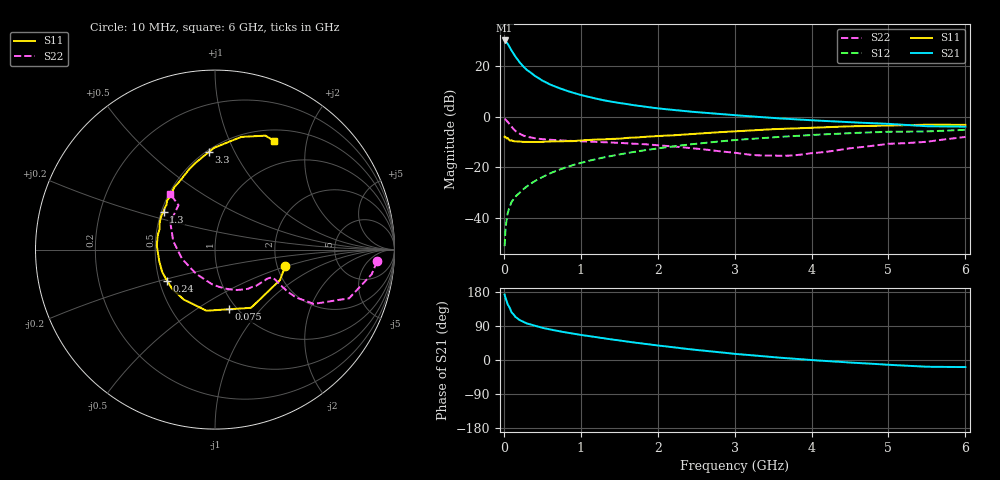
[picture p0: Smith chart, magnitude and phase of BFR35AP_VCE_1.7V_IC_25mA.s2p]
! Infineon Technologies  Discrete & RF Semiconductors
! BFR35AP
! VCE =  1.7 V,  IC =  25 mA
! Common Emitter S-Parameters:  Nov 2015
# GHz  S  MA  R  50
!  f  S11  S21  S12  S22
! GHz  MAG  ANG  MAG  ANG  MAG  ANG  MAG  ANG
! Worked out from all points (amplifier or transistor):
!   210 points, 10 MHz to 6 GHz, reference 50 ohm
!   highest |S21| = 30.0 dB at 10 MHz (marker M1)
!   |S21| within 3 dB of that: start of sweep to 81.54 MHz
!   unconditionally stable (mu >= 1): 208.6 MHz to end of sweep
!   at 185 MHz: K = 0.95, MSG = 26.4 dB, |S12| = -30.6 dB
!   at 1.52 GHz: K = 1.23, MAG = 7.2 dB, |S12| = -14.8 dB
!   at 6 GHz: K = 1.05, MAG = -0.8 dB, |S12| = -5.2 dB
!   S11 on the Smith chart (normalised r, x): 10 MHz: 2.21, -0.49; 75 MHz: 0.92, -0.69; 240 MHz: 0.55, -0.21; 1.3 GHz: 0.51, +0.25; 3.3 GHz: 0.52, +0.79; 6 GHz: 0.65, +1.49
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0.01  0.4019 -13.3  31.73 172.5  0.0028 85.6  0.9052 -4.2
0.02  0.3999 -25.1  31.1 165.2  0.0054 74.2  0.8834 -9.0
0.05  0.3815 -58.2  27.4 146.8  0.0125 72.1  0.7946 -20.0
0.075  0.3411 -77.0  23.4 138.0  0.0166 67.2  0.7091 -23.9
0.1  0.344 -98.0  20.15 126.1  0.0207 64.2  0.6277 -28.8
0.15  0.3283 -122.1  15.21 113.6  0.0264 64.2  0.5223 -30.6
0.2  0.3237 -137.8  12.05 106.0  0.031 65.2  0.4635 -30.0
0.24  0.3184 -146.7  10.25 101.7  0.0356 66.1  0.4328 -29.1
0.3  0.3194 -157.1  8.324 96.3  0.0422 68.5  0.4021 -27.8
0.4  0.3174 -168.2  6.407 90.4  0.0533 69.8  0.375 -26.5
0.5  0.3184 -177.0  5.138 85.0  0.0641 70.6  0.3591 -26.0
0.6  0.3251 176.1  4.309 80.6  0.0761 70.9  0.3498 -26.3
0.7  0.3264 170.5  3.739 76.5  0.0877 70.6  0.3429 -27.3
0.8  0.3287 165.2  3.292 72.9  0.0993 69.6  0.3366 -28.4
1.02  0.3415 154.6  2.628 65.6  0.1248 68.1  0.3267 -31.6
1.3  0.3563 143.6  2.098 57.1  0.1573 65.6  0.3134 -37.0
2.02  0.4174 122.1  1.445 37.9  0.2386 56.9  0.2712 -54.9
3.1  0.5222 97.3  1.041 14.6  0.3541 41.7  0.1853 -100.2
3.3  0.5433 93.8  0.989 11.1  0.3728 38.6  0.173 -113.6
4.1  0.6108 81.8  0.833 -1.5  0.4428 27.1  0.196 -170.8
5.1  0.6721 70.1  0.706 -13.6  0.5042 12.3  0.2948 144.5
6  0.6893 61.3  0.635 -18.7  0.55 2.0  0.3977 128.8
